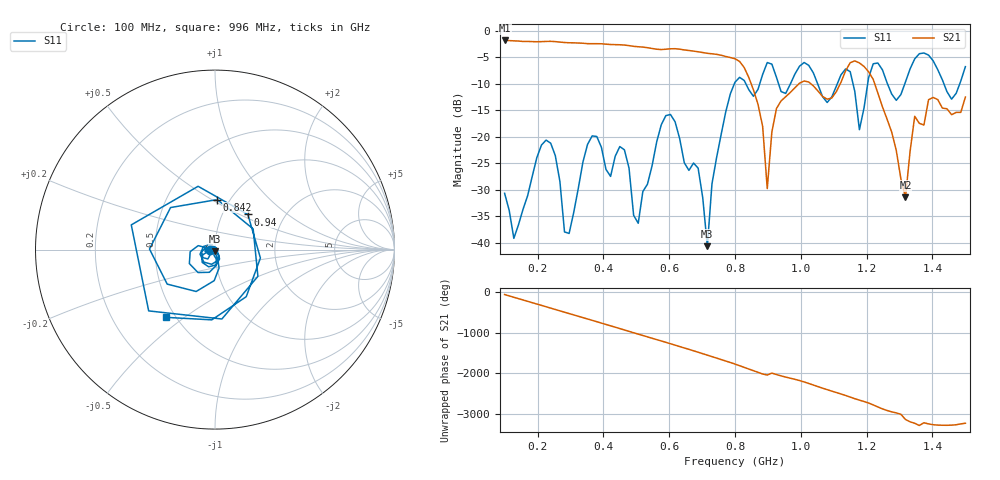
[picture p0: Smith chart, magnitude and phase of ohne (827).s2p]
! NanoVNA-App
! Date: 2025-09-25 14:27:14
! Start: 100MHz Stop: 1,5GHz Points: 101
! S-Parameter data: F S11 S21 S12 S22
# Hz S RI R 50
!  Frequency  S11_Real  S11_Imag  S21_Real  S21_Imag  S12_Real  S12_Imag  S22_Real  S22_Imag
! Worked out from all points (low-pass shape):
!   101 points, 100 MHz to 1.5 GHz, reference 50 ohm
!   highest |S21| = -1.79 dB at 100 MHz (marker M1); lowest = -31.4 dB at 1.318 GHz (marker M2)
!   |S21| within 3 dB of the highest: start of sweep to 770.6 MHz
!   lowest |S11| = -40.6 dB at 716 MHz (marker M3), VSWR 1.02, Z = 49.7 - j0.892 ohm
!   |S11| at or under -10 dB: start of sweep to 797.9 MHz; 833.2 MHz to 875 MHz (41.8 MHz wide, 4.89 % of centre); 1.051 GHz to 1.111 GHz (59.35 MHz wide, 5.49 % of centre) (the widest 3 of 7)
!   S12 and S22 are empty: the file has one direction only
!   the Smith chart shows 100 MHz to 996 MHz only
!   S11 on the Smith chart (normalised r, x): 100 MHz: 0.94, -0.01; 842 MHz: 0.88, +0.53; 940 MHz: 1.32, +0.55; 996 MHz: 0.45, -0.43
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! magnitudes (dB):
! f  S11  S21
! 100 MHz  -30.6  -1.8
! 128 MHz  -39.1  -1.9
! 226 MHz  -20.6  -2.0
! 296 MHz  -38.2  -2.2
! 338 MHz  -24.7  -2.3
! 464 MHz  -22.4  -2.7
! 506 MHz  -36.3  -3.0
! 576 MHz  -17.7  -3.5
! 688 MHz  -25.9  -3.9
! 716 MHz  -40.6  -4.2
! 800 MHz  -9.7  -5.2
! 842 MHz  -11.1  -8.8
! 898 MHz  -6.0  -29.7
! 940 MHz  -11.4  -13.2
! 996 MHz  -6.7  -9.9
! 1.038 GHz  -7.9  -10.4
! 1.178 GHz  -18.6  -6.0
! 1.22 GHz  -6.2  -9.2
! 1.276 GHz  -11.9  -19.1
! 1.318 GHz  -9.6  -31.4
! 1.346 GHz  -5.3  -16.1
! 1.5 GHz  -6.7  -12.5
